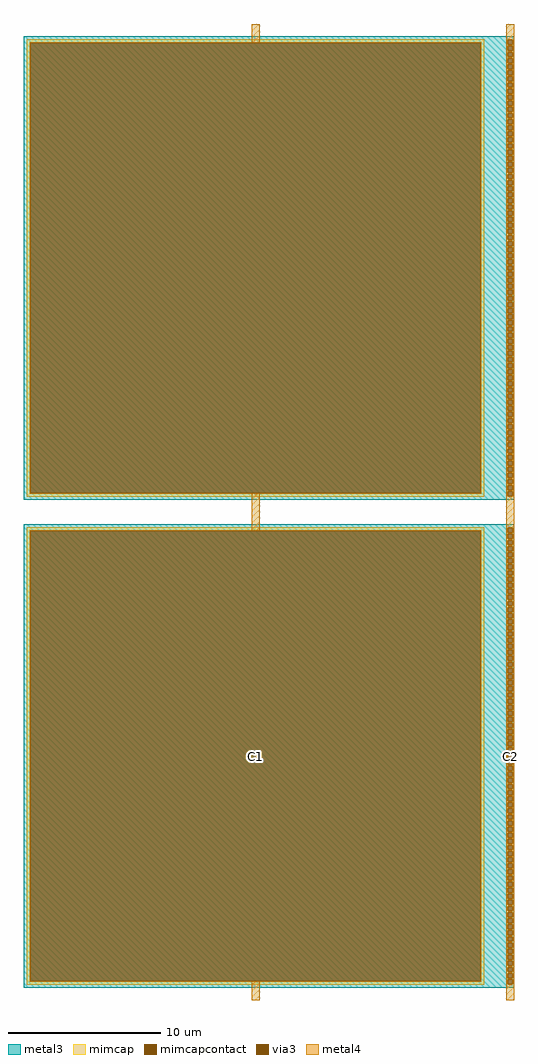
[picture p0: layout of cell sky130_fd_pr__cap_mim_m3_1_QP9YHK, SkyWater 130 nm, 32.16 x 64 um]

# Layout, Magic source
magic
tech sky130A
magscale 1 2
<< metal3 >>
rect -3216 6192 3216 6240
rect -3216 6128 3132 6192
rect 3196 6128 3216 6192
rect -3216 6112 3216 6128
rect -3216 6048 3132 6112
rect 3196 6048 3216 6112
rect -3216 6032 3216 6048
rect -3216 5968 3132 6032
rect 3196 5968 3216 6032
rect -3216 5952 3216 5968
rect -3216 5888 3132 5952
rect 3196 5888 3216 5952
rect -3216 5872 3216 5888
rect -3216 5808 3132 5872
rect 3196 5808 3216 5872
rect -3216 5792 3216 5808
rect -3216 5728 3132 5792
rect 3196 5728 3216 5792
rect -3216 5712 3216 5728
rect -3216 5648 3132 5712
rect 3196 5648 3216 5712
rect -3216 5632 3216 5648
rect -3216 5568 3132 5632
rect 3196 5568 3216 5632
rect -3216 5552 3216 5568
rect -3216 5488 3132 5552
rect 3196 5488 3216 5552
rect -3216 5472 3216 5488
rect -3216 5408 3132 5472
rect 3196 5408 3216 5472
rect -3216 5392 3216 5408
rect -3216 5328 3132 5392
rect 3196 5328 3216 5392
rect -3216 5312 3216 5328
rect -3216 5248 3132 5312
rect 3196 5248 3216 5312
rect -3216 5232 3216 5248
rect -3216 5168 3132 5232
rect 3196 5168 3216 5232
rect -3216 5152 3216 5168
rect -3216 5088 3132 5152
rect 3196 5088 3216 5152
rect -3216 5072 3216 5088
rect -3216 5008 3132 5072
rect 3196 5008 3216 5072
rect -3216 4992 3216 5008
rect -3216 4928 3132 4992
rect 3196 4928 3216 4992
rect -3216 4912 3216 4928
rect -3216 4848 3132 4912
rect 3196 4848 3216 4912
rect -3216 4832 3216 4848
rect -3216 4768 3132 4832
rect 3196 4768 3216 4832
rect -3216 4752 3216 4768
rect -3216 4688 3132 4752
rect 3196 4688 3216 4752
rect -3216 4672 3216 4688
rect -3216 4608 3132 4672
rect 3196 4608 3216 4672
rect -3216 4592 3216 4608
rect -3216 4528 3132 4592
rect 3196 4528 3216 4592
rect -3216 4512 3216 4528
rect -3216 4448 3132 4512
rect 3196 4448 3216 4512
rect -3216 4432 3216 4448
rect -3216 4368 3132 4432
rect 3196 4368 3216 4432
rect -3216 4352 3216 4368
rect -3216 4288 3132 4352
rect 3196 4288 3216 4352
rect -3216 4272 3216 4288
rect -3216 4208 3132 4272
rect 3196 4208 3216 4272
rect -3216 4192 3216 4208
rect -3216 4128 3132 4192
rect 3196 4128 3216 4192
rect -3216 4112 3216 4128
rect -3216 4048 3132 4112
rect 3196 4048 3216 4112
rect -3216 4032 3216 4048
rect -3216 3968 3132 4032
rect 3196 3968 3216 4032
rect -3216 3952 3216 3968
rect -3216 3888 3132 3952
rect 3196 3888 3216 3952
rect -3216 3872 3216 3888
rect -3216 3808 3132 3872
rect 3196 3808 3216 3872
rect -3216 3792 3216 3808
rect -3216 3728 3132 3792
rect 3196 3728 3216 3792
rect -3216 3712 3216 3728
rect -3216 3648 3132 3712
rect 3196 3648 3216 3712
rect -3216 3632 3216 3648
rect -3216 3568 3132 3632
rect 3196 3568 3216 3632
rect -3216 3552 3216 3568
rect -3216 3488 3132 3552
rect 3196 3488 3216 3552
rect -3216 3472 3216 3488
rect -3216 3408 3132 3472
rect 3196 3408 3216 3472
rect -3216 3392 3216 3408
rect -3216 3328 3132 3392
rect 3196 3328 3216 3392
rect -3216 3312 3216 3328
rect -3216 3248 3132 3312
rect 3196 3248 3216 3312
rect -3216 3232 3216 3248
rect -3216 3168 3132 3232
rect 3196 3168 3216 3232
rect -3216 3152 3216 3168
rect -3216 3088 3132 3152
rect 3196 3088 3216 3152
rect -3216 3072 3216 3088
rect -3216 3008 3132 3072
rect 3196 3008 3216 3072
rect -3216 2992 3216 3008
rect -3216 2928 3132 2992
rect 3196 2928 3216 2992
rect -3216 2912 3216 2928
rect -3216 2848 3132 2912
rect 3196 2848 3216 2912
rect -3216 2832 3216 2848
rect -3216 2768 3132 2832
rect 3196 2768 3216 2832
rect -3216 2752 3216 2768
rect -3216 2688 3132 2752
rect 3196 2688 3216 2752
rect -3216 2672 3216 2688
rect -3216 2608 3132 2672
rect 3196 2608 3216 2672
rect -3216 2592 3216 2608
rect -3216 2528 3132 2592
rect 3196 2528 3216 2592
rect -3216 2512 3216 2528
rect -3216 2448 3132 2512
rect 3196 2448 3216 2512
rect -3216 2432 3216 2448
rect -3216 2368 3132 2432
rect 3196 2368 3216 2432
rect -3216 2352 3216 2368
rect -3216 2288 3132 2352
rect 3196 2288 3216 2352
rect -3216 2272 3216 2288
rect -3216 2208 3132 2272
rect 3196 2208 3216 2272
rect -3216 2192 3216 2208
rect -3216 2128 3132 2192
rect 3196 2128 3216 2192
rect -3216 2112 3216 2128
rect -3216 2048 3132 2112
rect 3196 2048 3216 2112
rect -3216 2032 3216 2048
rect -3216 1968 3132 2032
rect 3196 1968 3216 2032
rect -3216 1952 3216 1968
rect -3216 1888 3132 1952
rect 3196 1888 3216 1952
rect -3216 1872 3216 1888
rect -3216 1808 3132 1872
rect 3196 1808 3216 1872
rect -3216 1792 3216 1808
rect -3216 1728 3132 1792
rect 3196 1728 3216 1792
rect -3216 1712 3216 1728
rect -3216 1648 3132 1712
rect 3196 1648 3216 1712
rect -3216 1632 3216 1648
rect -3216 1568 3132 1632
rect 3196 1568 3216 1632
rect -3216 1552 3216 1568
rect -3216 1488 3132 1552
rect 3196 1488 3216 1552
rect -3216 1472 3216 1488
rect -3216 1408 3132 1472
rect 3196 1408 3216 1472
rect -3216 1392 3216 1408
rect -3216 1328 3132 1392
rect 3196 1328 3216 1392
rect -3216 1312 3216 1328
rect -3216 1248 3132 1312
rect 3196 1248 3216 1312
rect -3216 1232 3216 1248
rect -3216 1168 3132 1232
rect 3196 1168 3216 1232
rect -3216 1152 3216 1168
rect -3216 1088 3132 1152
rect 3196 1088 3216 1152
rect -3216 1072 3216 1088
rect -3216 1008 3132 1072
rect 3196 1008 3216 1072
rect -3216 992 3216 1008
rect -3216 928 3132 992
rect 3196 928 3216 992
rect -3216 912 3216 928
rect -3216 848 3132 912
rect 3196 848 3216 912
rect -3216 832 3216 848
rect -3216 768 3132 832
rect 3196 768 3216 832
rect -3216 752 3216 768
rect -3216 688 3132 752
rect 3196 688 3216 752
rect -3216 672 3216 688
rect -3216 608 3132 672
rect 3196 608 3216 672
rect -3216 592 3216 608
rect -3216 528 3132 592
rect 3196 528 3216 592
rect -3216 512 3216 528
rect -3216 448 3132 512
rect 3196 448 3216 512
rect -3216 432 3216 448
rect -3216 368 3132 432
rect 3196 368 3216 432
rect -3216 352 3216 368
rect -3216 288 3132 352
rect 3196 288 3216 352
rect -3216 272 3216 288
rect -3216 208 3132 272
rect 3196 208 3216 272
rect -3216 160 3216 208
rect -3216 -208 3216 -160
rect -3216 -272 3132 -208
rect 3196 -272 3216 -208
rect -3216 -288 3216 -272
rect -3216 -352 3132 -288
rect 3196 -352 3216 -288
rect -3216 -368 3216 -352
rect -3216 -432 3132 -368
rect 3196 -432 3216 -368
rect -3216 -448 3216 -432
rect -3216 -512 3132 -448
rect 3196 -512 3216 -448
rect -3216 -528 3216 -512
rect -3216 -592 3132 -528
rect 3196 -592 3216 -528
rect -3216 -608 3216 -592
rect -3216 -672 3132 -608
rect 3196 -672 3216 -608
rect -3216 -688 3216 -672
rect -3216 -752 3132 -688
rect 3196 -752 3216 -688
rect -3216 -768 3216 -752
rect -3216 -832 3132 -768
rect 3196 -832 3216 -768
rect -3216 -848 3216 -832
rect -3216 -912 3132 -848
rect 3196 -912 3216 -848
rect -3216 -928 3216 -912
rect -3216 -992 3132 -928
rect 3196 -992 3216 -928
rect -3216 -1008 3216 -992
rect -3216 -1072 3132 -1008
rect 3196 -1072 3216 -1008
rect -3216 -1088 3216 -1072
rect -3216 -1152 3132 -1088
rect 3196 -1152 3216 -1088
rect -3216 -1168 3216 -1152
rect -3216 -1232 3132 -1168
rect 3196 -1232 3216 -1168
rect -3216 -1248 3216 -1232
rect -3216 -1312 3132 -1248
rect 3196 -1312 3216 -1248
rect -3216 -1328 3216 -1312
rect -3216 -1392 3132 -1328
rect 3196 -1392 3216 -1328
rect -3216 -1408 3216 -1392
rect -3216 -1472 3132 -1408
rect 3196 -1472 3216 -1408
rect -3216 -1488 3216 -1472
rect -3216 -1552 3132 -1488
rect 3196 -1552 3216 -1488
rect -3216 -1568 3216 -1552
rect -3216 -1632 3132 -1568
rect 3196 -1632 3216 -1568
rect -3216 -1648 3216 -1632
rect -3216 -1712 3132 -1648
rect 3196 -1712 3216 -1648
rect -3216 -1728 3216 -1712
rect -3216 -1792 3132 -1728
rect 3196 -1792 3216 -1728
rect -3216 -1808 3216 -1792
rect -3216 -1872 3132 -1808
rect 3196 -1872 3216 -1808
rect -3216 -1888 3216 -1872
rect -3216 -1952 3132 -1888
rect 3196 -1952 3216 -1888
rect -3216 -1968 3216 -1952
rect -3216 -2032 3132 -1968
rect 3196 -2032 3216 -1968
rect -3216 -2048 3216 -2032
rect -3216 -2112 3132 -2048
rect 3196 -2112 3216 -2048
rect -3216 -2128 3216 -2112
rect -3216 -2192 3132 -2128
rect 3196 -2192 3216 -2128
rect -3216 -2208 3216 -2192
rect -3216 -2272 3132 -2208
rect 3196 -2272 3216 -2208
rect -3216 -2288 3216 -2272
rect -3216 -2352 3132 -2288
rect 3196 -2352 3216 -2288
rect -3216 -2368 3216 -2352
rect -3216 -2432 3132 -2368
rect 3196 -2432 3216 -2368
rect -3216 -2448 3216 -2432
rect -3216 -2512 3132 -2448
rect 3196 -2512 3216 -2448
rect -3216 -2528 3216 -2512
rect -3216 -2592 3132 -2528
rect 3196 -2592 3216 -2528
rect -3216 -2608 3216 -2592
rect -3216 -2672 3132 -2608
rect 3196 -2672 3216 -2608
rect -3216 -2688 3216 -2672
rect -3216 -2752 3132 -2688
rect 3196 -2752 3216 -2688
rect -3216 -2768 3216 -2752
rect -3216 -2832 3132 -2768
rect 3196 -2832 3216 -2768
rect -3216 -2848 3216 -2832
rect -3216 -2912 3132 -2848
rect 3196 -2912 3216 -2848
rect -3216 -2928 3216 -2912
rect -3216 -2992 3132 -2928
rect 3196 -2992 3216 -2928
rect -3216 -3008 3216 -2992
rect -3216 -3072 3132 -3008
rect 3196 -3072 3216 -3008
rect -3216 -3088 3216 -3072
rect -3216 -3152 3132 -3088
rect 3196 -3152 3216 -3088
rect -3216 -3168 3216 -3152
rect -3216 -3232 3132 -3168
rect 3196 -3232 3216 -3168
rect -3216 -3248 3216 -3232
rect -3216 -3312 3132 -3248
rect 3196 -3312 3216 -3248
rect -3216 -3328 3216 -3312
rect -3216 -3392 3132 -3328
rect 3196 -3392 3216 -3328
rect -3216 -3408 3216 -3392
rect -3216 -3472 3132 -3408
rect 3196 -3472 3216 -3408
rect -3216 -3488 3216 -3472
rect -3216 -3552 3132 -3488
rect 3196 -3552 3216 -3488
rect -3216 -3568 3216 -3552
rect -3216 -3632 3132 -3568
rect 3196 -3632 3216 -3568
rect -3216 -3648 3216 -3632
rect -3216 -3712 3132 -3648
rect 3196 -3712 3216 -3648
rect -3216 -3728 3216 -3712
rect -3216 -3792 3132 -3728
rect 3196 -3792 3216 -3728
rect -3216 -3808 3216 -3792
rect -3216 -3872 3132 -3808
rect 3196 -3872 3216 -3808
rect -3216 -3888 3216 -3872
rect -3216 -3952 3132 -3888
rect 3196 -3952 3216 -3888
rect -3216 -3968 3216 -3952
rect -3216 -4032 3132 -3968
rect 3196 -4032 3216 -3968
rect -3216 -4048 3216 -4032
rect -3216 -4112 3132 -4048
rect 3196 -4112 3216 -4048
rect -3216 -4128 3216 -4112
rect -3216 -4192 3132 -4128
rect 3196 -4192 3216 -4128
rect -3216 -4208 3216 -4192
rect -3216 -4272 3132 -4208
rect 3196 -4272 3216 -4208
rect -3216 -4288 3216 -4272
rect -3216 -4352 3132 -4288
rect 3196 -4352 3216 -4288
rect -3216 -4368 3216 -4352
rect -3216 -4432 3132 -4368
rect 3196 -4432 3216 -4368
rect -3216 -4448 3216 -4432
rect -3216 -4512 3132 -4448
rect 3196 -4512 3216 -4448
rect -3216 -4528 3216 -4512
rect -3216 -4592 3132 -4528
rect 3196 -4592 3216 -4528
rect -3216 -4608 3216 -4592
rect -3216 -4672 3132 -4608
rect 3196 -4672 3216 -4608
rect -3216 -4688 3216 -4672
rect -3216 -4752 3132 -4688
rect 3196 -4752 3216 -4688
rect -3216 -4768 3216 -4752
rect -3216 -4832 3132 -4768
rect 3196 -4832 3216 -4768
rect -3216 -4848 3216 -4832
rect -3216 -4912 3132 -4848
rect 3196 -4912 3216 -4848
rect -3216 -4928 3216 -4912
rect -3216 -4992 3132 -4928
rect 3196 -4992 3216 -4928
rect -3216 -5008 3216 -4992
rect -3216 -5072 3132 -5008
rect 3196 -5072 3216 -5008
rect -3216 -5088 3216 -5072
rect -3216 -5152 3132 -5088
rect 3196 -5152 3216 -5088
rect -3216 -5168 3216 -5152
rect -3216 -5232 3132 -5168
rect 3196 -5232 3216 -5168
rect -3216 -5248 3216 -5232
rect -3216 -5312 3132 -5248
rect 3196 -5312 3216 -5248
rect -3216 -5328 3216 -5312
rect -3216 -5392 3132 -5328
rect 3196 -5392 3216 -5328
rect -3216 -5408 3216 -5392
rect -3216 -5472 3132 -5408
rect 3196 -5472 3216 -5408
rect -3216 -5488 3216 -5472
rect -3216 -5552 3132 -5488
rect 3196 -5552 3216 -5488
rect -3216 -5568 3216 -5552
rect -3216 -5632 3132 -5568
rect 3196 -5632 3216 -5568
rect -3216 -5648 3216 -5632
rect -3216 -5712 3132 -5648
rect 3196 -5712 3216 -5648
rect -3216 -5728 3216 -5712
rect -3216 -5792 3132 -5728
rect 3196 -5792 3216 -5728
rect -3216 -5808 3216 -5792
rect -3216 -5872 3132 -5808
rect 3196 -5872 3216 -5808
rect -3216 -5888 3216 -5872
rect -3216 -5952 3132 -5888
rect 3196 -5952 3216 -5888
rect -3216 -5968 3216 -5952
rect -3216 -6032 3132 -5968
rect 3196 -6032 3216 -5968
rect -3216 -6048 3216 -6032
rect -3216 -6112 3132 -6048
rect 3196 -6112 3216 -6048
rect -3216 -6128 3216 -6112
rect -3216 -6192 3132 -6128
rect 3196 -6192 3216 -6128
rect -3216 -6240 3216 -6192
<< via3 >>
rect 3132 6128 3196 6192
rect 3132 6048 3196 6112
rect 3132 5968 3196 6032
rect 3132 5888 3196 5952
rect 3132 5808 3196 5872
rect 3132 5728 3196 5792
rect 3132 5648 3196 5712
rect 3132 5568 3196 5632
rect 3132 5488 3196 5552
rect 3132 5408 3196 5472
rect 3132 5328 3196 5392
rect 3132 5248 3196 5312
rect 3132 5168 3196 5232
rect 3132 5088 3196 5152
rect 3132 5008 3196 5072
rect 3132 4928 3196 4992
rect 3132 4848 3196 4912
rect 3132 4768 3196 4832
rect 3132 4688 3196 4752
rect 3132 4608 3196 4672
rect 3132 4528 3196 4592
rect 3132 4448 3196 4512
rect 3132 4368 3196 4432
rect 3132 4288 3196 4352
rect 3132 4208 3196 4272
rect 3132 4128 3196 4192
rect 3132 4048 3196 4112
rect 3132 3968 3196 4032
rect 3132 3888 3196 3952
rect 3132 3808 3196 3872
rect 3132 3728 3196 3792
rect 3132 3648 3196 3712
rect 3132 3568 3196 3632
rect 3132 3488 3196 3552
rect 3132 3408 3196 3472
rect 3132 3328 3196 3392
rect 3132 3248 3196 3312
rect 3132 3168 3196 3232
rect 3132 3088 3196 3152
rect 3132 3008 3196 3072
rect 3132 2928 3196 2992
rect 3132 2848 3196 2912
rect 3132 2768 3196 2832
rect 3132 2688 3196 2752
rect 3132 2608 3196 2672
rect 3132 2528 3196 2592
rect 3132 2448 3196 2512
rect 3132 2368 3196 2432
rect 3132 2288 3196 2352
rect 3132 2208 3196 2272
rect 3132 2128 3196 2192
rect 3132 2048 3196 2112
rect 3132 1968 3196 2032
rect 3132 1888 3196 1952
rect 3132 1808 3196 1872
rect 3132 1728 3196 1792
rect 3132 1648 3196 1712
rect 3132 1568 3196 1632
rect 3132 1488 3196 1552
rect 3132 1408 3196 1472
rect 3132 1328 3196 1392
rect 3132 1248 3196 1312
rect 3132 1168 3196 1232
rect 3132 1088 3196 1152
rect 3132 1008 3196 1072
rect 3132 928 3196 992
rect 3132 848 3196 912
rect 3132 768 3196 832
rect 3132 688 3196 752
rect 3132 608 3196 672
rect 3132 528 3196 592
rect 3132 448 3196 512
rect 3132 368 3196 432
rect 3132 288 3196 352
rect 3132 208 3196 272
rect 3132 -272 3196 -208
rect 3132 -352 3196 -288
rect 3132 -432 3196 -368
rect 3132 -512 3196 -448
rect 3132 -592 3196 -528
rect 3132 -672 3196 -608
rect 3132 -752 3196 -688
rect 3132 -832 3196 -768
rect 3132 -912 3196 -848
rect 3132 -992 3196 -928
rect 3132 -1072 3196 -1008
rect 3132 -1152 3196 -1088
rect 3132 -1232 3196 -1168
rect 3132 -1312 3196 -1248
rect 3132 -1392 3196 -1328
rect 3132 -1472 3196 -1408
rect 3132 -1552 3196 -1488
rect 3132 -1632 3196 -1568
rect 3132 -1712 3196 -1648
rect 3132 -1792 3196 -1728
rect 3132 -1872 3196 -1808
rect 3132 -1952 3196 -1888
rect 3132 -2032 3196 -1968
rect 3132 -2112 3196 -2048
rect 3132 -2192 3196 -2128
rect 3132 -2272 3196 -2208
rect 3132 -2352 3196 -2288
rect 3132 -2432 3196 -2368
rect 3132 -2512 3196 -2448
rect 3132 -2592 3196 -2528
rect 3132 -2672 3196 -2608
rect 3132 -2752 3196 -2688
rect 3132 -2832 3196 -2768
rect 3132 -2912 3196 -2848
rect 3132 -2992 3196 -2928
rect 3132 -3072 3196 -3008
rect 3132 -3152 3196 -3088
rect 3132 -3232 3196 -3168
rect 3132 -3312 3196 -3248
rect 3132 -3392 3196 -3328
rect 3132 -3472 3196 -3408
rect 3132 -3552 3196 -3488
rect 3132 -3632 3196 -3568
rect 3132 -3712 3196 -3648
rect 3132 -3792 3196 -3728
rect 3132 -3872 3196 -3808
rect 3132 -3952 3196 -3888
rect 3132 -4032 3196 -3968
rect 3132 -4112 3196 -4048
rect 3132 -4192 3196 -4128
rect 3132 -4272 3196 -4208
rect 3132 -4352 3196 -4288
rect 3132 -4432 3196 -4368
rect 3132 -4512 3196 -4448
rect 3132 -4592 3196 -4528
rect 3132 -4672 3196 -4608
rect 3132 -4752 3196 -4688
rect 3132 -4832 3196 -4768
rect 3132 -4912 3196 -4848
rect 3132 -4992 3196 -4928
rect 3132 -5072 3196 -5008
rect 3132 -5152 3196 -5088
rect 3132 -5232 3196 -5168
rect 3132 -5312 3196 -5248
rect 3132 -5392 3196 -5328
rect 3132 -5472 3196 -5408
rect 3132 -5552 3196 -5488
rect 3132 -5632 3196 -5568
rect 3132 -5712 3196 -5648
rect 3132 -5792 3196 -5728
rect 3132 -5872 3196 -5808
rect 3132 -5952 3196 -5888
rect 3132 -6032 3196 -5968
rect 3132 -6112 3196 -6048
rect 3132 -6192 3196 -6128
<< mimcap >>
rect -3176 6152 2824 6200
rect -3176 248 -3128 6152
rect 2776 248 2824 6152
rect -3176 200 2824 248
rect -3176 -248 2824 -200
rect -3176 -6152 -3128 -248
rect 2776 -6152 2824 -248
rect -3176 -6200 2824 -6152
<< mimcapcontact >>
rect -3128 248 2776 6152
rect -3128 -6152 2776 -248
<< metal4 >>
rect -228 6161 -124 6400
rect 3112 6192 3216 6400
rect -3137 6152 2785 6161
rect -3137 248 -3128 6152
rect 2776 248 2785 6152
rect -3137 239 2785 248
rect 3112 6128 3132 6192
rect 3196 6128 3216 6192
rect 3112 6112 3216 6128
rect 3112 6048 3132 6112
rect 3196 6048 3216 6112
rect 3112 6032 3216 6048
rect 3112 5968 3132 6032
rect 3196 5968 3216 6032
rect 3112 5952 3216 5968
rect 3112 5888 3132 5952
rect 3196 5888 3216 5952
rect 3112 5872 3216 5888
rect 3112 5808 3132 5872
rect 3196 5808 3216 5872
rect 3112 5792 3216 5808
rect 3112 5728 3132 5792
rect 3196 5728 3216 5792
rect 3112 5712 3216 5728
rect 3112 5648 3132 5712
rect 3196 5648 3216 5712
rect 3112 5632 3216 5648
rect 3112 5568 3132 5632
rect 3196 5568 3216 5632
rect 3112 5552 3216 5568
rect 3112 5488 3132 5552
rect 3196 5488 3216 5552
rect 3112 5472 3216 5488
rect 3112 5408 3132 5472
rect 3196 5408 3216 5472
rect 3112 5392 3216 5408
rect 3112 5328 3132 5392
rect 3196 5328 3216 5392
rect 3112 5312 3216 5328
rect 3112 5248 3132 5312
rect 3196 5248 3216 5312
rect 3112 5232 3216 5248
rect 3112 5168 3132 5232
rect 3196 5168 3216 5232
rect 3112 5152 3216 5168
rect 3112 5088 3132 5152
rect 3196 5088 3216 5152
rect 3112 5072 3216 5088
rect 3112 5008 3132 5072
rect 3196 5008 3216 5072
rect 3112 4992 3216 5008
rect 3112 4928 3132 4992
rect 3196 4928 3216 4992
rect 3112 4912 3216 4928
rect 3112 4848 3132 4912
rect 3196 4848 3216 4912
rect 3112 4832 3216 4848
rect 3112 4768 3132 4832
rect 3196 4768 3216 4832
rect 3112 4752 3216 4768
rect 3112 4688 3132 4752
rect 3196 4688 3216 4752
rect 3112 4672 3216 4688
rect 3112 4608 3132 4672
rect 3196 4608 3216 4672
rect 3112 4592 3216 4608
rect 3112 4528 3132 4592
rect 3196 4528 3216 4592
rect 3112 4512 3216 4528
rect 3112 4448 3132 4512
rect 3196 4448 3216 4512
rect 3112 4432 3216 4448
rect 3112 4368 3132 4432
rect 3196 4368 3216 4432
rect 3112 4352 3216 4368
rect 3112 4288 3132 4352
rect 3196 4288 3216 4352
rect 3112 4272 3216 4288
rect 3112 4208 3132 4272
rect 3196 4208 3216 4272
rect 3112 4192 3216 4208
rect 3112 4128 3132 4192
rect 3196 4128 3216 4192
rect 3112 4112 3216 4128
rect 3112 4048 3132 4112
rect 3196 4048 3216 4112
rect 3112 4032 3216 4048
rect 3112 3968 3132 4032
rect 3196 3968 3216 4032
rect 3112 3952 3216 3968
rect 3112 3888 3132 3952
rect 3196 3888 3216 3952
rect 3112 3872 3216 3888
rect 3112 3808 3132 3872
rect 3196 3808 3216 3872
rect 3112 3792 3216 3808
rect 3112 3728 3132 3792
rect 3196 3728 3216 3792
rect 3112 3712 3216 3728
rect 3112 3648 3132 3712
rect 3196 3648 3216 3712
rect 3112 3632 3216 3648
rect 3112 3568 3132 3632
rect 3196 3568 3216 3632
rect 3112 3552 3216 3568
rect 3112 3488 3132 3552
rect 3196 3488 3216 3552
rect 3112 3472 3216 3488
rect 3112 3408 3132 3472
rect 3196 3408 3216 3472
rect 3112 3392 3216 3408
rect 3112 3328 3132 3392
rect 3196 3328 3216 3392
rect 3112 3312 3216 3328
rect 3112 3248 3132 3312
rect 3196 3248 3216 3312
rect 3112 3232 3216 3248
rect 3112 3168 3132 3232
rect 3196 3168 3216 3232
rect 3112 3152 3216 3168
rect 3112 3088 3132 3152
rect 3196 3088 3216 3152
rect 3112 3072 3216 3088
rect 3112 3008 3132 3072
rect 3196 3008 3216 3072
rect 3112 2992 3216 3008
rect 3112 2928 3132 2992
rect 3196 2928 3216 2992
rect 3112 2912 3216 2928
rect 3112 2848 3132 2912
rect 3196 2848 3216 2912
rect 3112 2832 3216 2848
rect 3112 2768 3132 2832
rect 3196 2768 3216 2832
rect 3112 2752 3216 2768
rect 3112 2688 3132 2752
rect 3196 2688 3216 2752
rect 3112 2672 3216 2688
rect 3112 2608 3132 2672
rect 3196 2608 3216 2672
rect 3112 2592 3216 2608
rect 3112 2528 3132 2592
rect 3196 2528 3216 2592
rect 3112 2512 3216 2528
rect 3112 2448 3132 2512
rect 3196 2448 3216 2512
rect 3112 2432 3216 2448
rect 3112 2368 3132 2432
rect 3196 2368 3216 2432
rect 3112 2352 3216 2368
rect 3112 2288 3132 2352
rect 3196 2288 3216 2352
rect 3112 2272 3216 2288
rect 3112 2208 3132 2272
rect 3196 2208 3216 2272
rect 3112 2192 3216 2208
rect 3112 2128 3132 2192
rect 3196 2128 3216 2192
rect 3112 2112 3216 2128
rect 3112 2048 3132 2112
rect 3196 2048 3216 2112
rect 3112 2032 3216 2048
rect 3112 1968 3132 2032
rect 3196 1968 3216 2032
rect 3112 1952 3216 1968
rect 3112 1888 3132 1952
rect 3196 1888 3216 1952
rect 3112 1872 3216 1888
rect 3112 1808 3132 1872
rect 3196 1808 3216 1872
rect 3112 1792 3216 1808
rect 3112 1728 3132 1792
rect 3196 1728 3216 1792
rect 3112 1712 3216 1728
rect 3112 1648 3132 1712
rect 3196 1648 3216 1712
rect 3112 1632 3216 1648
rect 3112 1568 3132 1632
rect 3196 1568 3216 1632
rect 3112 1552 3216 1568
rect 3112 1488 3132 1552
rect 3196 1488 3216 1552
rect 3112 1472 3216 1488
rect 3112 1408 3132 1472
rect 3196 1408 3216 1472
rect 3112 1392 3216 1408
rect 3112 1328 3132 1392
rect 3196 1328 3216 1392
rect 3112 1312 3216 1328
rect 3112 1248 3132 1312
rect 3196 1248 3216 1312
rect 3112 1232 3216 1248
rect 3112 1168 3132 1232
rect 3196 1168 3216 1232
rect 3112 1152 3216 1168
rect 3112 1088 3132 1152
rect 3196 1088 3216 1152
rect 3112 1072 3216 1088
rect 3112 1008 3132 1072
rect 3196 1008 3216 1072
rect 3112 992 3216 1008
rect 3112 928 3132 992
rect 3196 928 3216 992
rect 3112 912 3216 928
rect 3112 848 3132 912
rect 3196 848 3216 912
rect 3112 832 3216 848
rect 3112 768 3132 832
rect 3196 768 3216 832
rect 3112 752 3216 768
rect 3112 688 3132 752
rect 3196 688 3216 752
rect 3112 672 3216 688
rect 3112 608 3132 672
rect 3196 608 3216 672
rect 3112 592 3216 608
rect 3112 528 3132 592
rect 3196 528 3216 592
rect 3112 512 3216 528
rect 3112 448 3132 512
rect 3196 448 3216 512
rect 3112 432 3216 448
rect 3112 368 3132 432
rect 3196 368 3216 432
rect 3112 352 3216 368
rect 3112 288 3132 352
rect 3196 288 3216 352
rect 3112 272 3216 288
rect -228 -239 -124 239
rect 3112 208 3132 272
rect 3196 208 3216 272
rect 3112 -208 3216 208
rect -3137 -248 2785 -239
rect -3137 -6152 -3128 -248
rect 2776 -6152 2785 -248
rect -3137 -6161 2785 -6152
rect 3112 -272 3132 -208
rect 3196 -272 3216 -208
rect 3112 -288 3216 -272
rect 3112 -352 3132 -288
rect 3196 -352 3216 -288
rect 3112 -368 3216 -352
rect 3112 -432 3132 -368
rect 3196 -432 3216 -368
rect 3112 -448 3216 -432
rect 3112 -512 3132 -448
rect 3196 -512 3216 -448
rect 3112 -528 3216 -512
rect 3112 -592 3132 -528
rect 3196 -592 3216 -528
rect 3112 -608 3216 -592
rect 3112 -672 3132 -608
rect 3196 -672 3216 -608
rect 3112 -688 3216 -672
rect 3112 -752 3132 -688
rect 3196 -752 3216 -688
rect 3112 -768 3216 -752
rect 3112 -832 3132 -768
rect 3196 -832 3216 -768
rect 3112 -848 3216 -832
rect 3112 -912 3132 -848
rect 3196 -912 3216 -848
rect 3112 -928 3216 -912
rect 3112 -992 3132 -928
rect 3196 -992 3216 -928
rect 3112 -1008 3216 -992
rect 3112 -1072 3132 -1008
rect 3196 -1072 3216 -1008
rect 3112 -1088 3216 -1072
rect 3112 -1152 3132 -1088
rect 3196 -1152 3216 -1088
rect 3112 -1168 3216 -1152
rect 3112 -1232 3132 -1168
rect 3196 -1232 3216 -1168
rect 3112 -1248 3216 -1232
rect 3112 -1312 3132 -1248
rect 3196 -1312 3216 -1248
rect 3112 -1328 3216 -1312
rect 3112 -1392 3132 -1328
rect 3196 -1392 3216 -1328
rect 3112 -1408 3216 -1392
rect 3112 -1472 3132 -1408
rect 3196 -1472 3216 -1408
rect 3112 -1488 3216 -1472
rect 3112 -1552 3132 -1488
rect 3196 -1552 3216 -1488
rect 3112 -1568 3216 -1552
rect 3112 -1632 3132 -1568
rect 3196 -1632 3216 -1568
rect 3112 -1648 3216 -1632
rect 3112 -1712 3132 -1648
rect 3196 -1712 3216 -1648
rect 3112 -1728 3216 -1712
rect 3112 -1792 3132 -1728
rect 3196 -1792 3216 -1728
rect 3112 -1808 3216 -1792
rect 3112 -1872 3132 -1808
rect 3196 -1872 3216 -1808
rect 3112 -1888 3216 -1872
rect 3112 -1952 3132 -1888
rect 3196 -1952 3216 -1888
rect 3112 -1968 3216 -1952
rect 3112 -2032 3132 -1968
rect 3196 -2032 3216 -1968
rect 3112 -2048 3216 -2032
rect 3112 -2112 3132 -2048
rect 3196 -2112 3216 -2048
rect 3112 -2128 3216 -2112
rect 3112 -2192 3132 -2128
rect 3196 -2192 3216 -2128
rect 3112 -2208 3216 -2192
rect 3112 -2272 3132 -2208
rect 3196 -2272 3216 -2208
rect 3112 -2288 3216 -2272
rect 3112 -2352 3132 -2288
rect 3196 -2352 3216 -2288
rect 3112 -2368 3216 -2352
rect 3112 -2432 3132 -2368
rect 3196 -2432 3216 -2368
rect 3112 -2448 3216 -2432
rect 3112 -2512 3132 -2448
rect 3196 -2512 3216 -2448
rect 3112 -2528 3216 -2512
rect 3112 -2592 3132 -2528
rect 3196 -2592 3216 -2528
rect 3112 -2608 3216 -2592
rect 3112 -2672 3132 -2608
rect 3196 -2672 3216 -2608
rect 3112 -2688 3216 -2672
rect 3112 -2752 3132 -2688
rect 3196 -2752 3216 -2688
rect 3112 -2768 3216 -2752
rect 3112 -2832 3132 -2768
rect 3196 -2832 3216 -2768
rect 3112 -2848 3216 -2832
rect 3112 -2912 3132 -2848
rect 3196 -2912 3216 -2848
rect 3112 -2928 3216 -2912
rect 3112 -2992 3132 -2928
rect 3196 -2992 3216 -2928
rect 3112 -3008 3216 -2992
rect 3112 -3072 3132 -3008
rect 3196 -3072 3216 -3008
rect 3112 -3088 3216 -3072
rect 3112 -3152 3132 -3088
rect 3196 -3152 3216 -3088
rect 3112 -3168 3216 -3152
rect 3112 -3232 3132 -3168
rect 3196 -3232 3216 -3168
rect 3112 -3248 3216 -3232
rect 3112 -3312 3132 -3248
rect 3196 -3312 3216 -3248
rect 3112 -3328 3216 -3312
rect 3112 -3392 3132 -3328
rect 3196 -3392 3216 -3328
rect 3112 -3408 3216 -3392
rect 3112 -3472 3132 -3408
rect 3196 -3472 3216 -3408
rect 3112 -3488 3216 -3472
rect 3112 -3552 3132 -3488
rect 3196 -3552 3216 -3488
rect 3112 -3568 3216 -3552
rect 3112 -3632 3132 -3568
rect 3196 -3632 3216 -3568
rect 3112 -3648 3216 -3632
rect 3112 -3712 3132 -3648
rect 3196 -3712 3216 -3648
rect 3112 -3728 3216 -3712
rect 3112 -3792 3132 -3728
rect 3196 -3792 3216 -3728
rect 3112 -3808 3216 -3792
rect 3112 -3872 3132 -3808
rect 3196 -3872 3216 -3808
rect 3112 -3888 3216 -3872
rect 3112 -3952 3132 -3888
rect 3196 -3952 3216 -3888
rect 3112 -3968 3216 -3952
rect 3112 -4032 3132 -3968
rect 3196 -4032 3216 -3968
rect 3112 -4048 3216 -4032
rect 3112 -4112 3132 -4048
rect 3196 -4112 3216 -4048
rect 3112 -4128 3216 -4112
rect 3112 -4192 3132 -4128
rect 3196 -4192 3216 -4128
rect 3112 -4208 3216 -4192
rect 3112 -4272 3132 -4208
rect 3196 -4272 3216 -4208
rect 3112 -4288 3216 -4272
rect 3112 -4352 3132 -4288
rect 3196 -4352 3216 -4288
rect 3112 -4368 3216 -4352
rect 3112 -4432 3132 -4368
rect 3196 -4432 3216 -4368
rect 3112 -4448 3216 -4432
rect 3112 -4512 3132 -4448
rect 3196 -4512 3216 -4448
rect 3112 -4528 3216 -4512
rect 3112 -4592 3132 -4528
rect 3196 -4592 3216 -4528
rect 3112 -4608 3216 -4592
rect 3112 -4672 3132 -4608
rect 3196 -4672 3216 -4608
rect 3112 -4688 3216 -4672
rect 3112 -4752 3132 -4688
rect 3196 -4752 3216 -4688
rect 3112 -4768 3216 -4752
rect 3112 -4832 3132 -4768
rect 3196 -4832 3216 -4768
rect 3112 -4848 3216 -4832
rect 3112 -4912 3132 -4848
rect 3196 -4912 3216 -4848
rect 3112 -4928 3216 -4912
rect 3112 -4992 3132 -4928
rect 3196 -4992 3216 -4928
rect 3112 -5008 3216 -4992
rect 3112 -5072 3132 -5008
rect 3196 -5072 3216 -5008
rect 3112 -5088 3216 -5072
rect 3112 -5152 3132 -5088
rect 3196 -5152 3216 -5088
rect 3112 -5168 3216 -5152
rect 3112 -5232 3132 -5168
rect 3196 -5232 3216 -5168
rect 3112 -5248 3216 -5232
rect 3112 -5312 3132 -5248
rect 3196 -5312 3216 -5248
rect 3112 -5328 3216 -5312
rect 3112 -5392 3132 -5328
rect 3196 -5392 3216 -5328
rect 3112 -5408 3216 -5392
rect 3112 -5472 3132 -5408
rect 3196 -5472 3216 -5408
rect 3112 -5488 3216 -5472
rect 3112 -5552 3132 -5488
rect 3196 -5552 3216 -5488
rect 3112 -5568 3216 -5552
rect 3112 -5632 3132 -5568
rect 3196 -5632 3216 -5568
rect 3112 -5648 3216 -5632
rect 3112 -5712 3132 -5648
rect 3196 -5712 3216 -5648
rect 3112 -5728 3216 -5712
rect 3112 -5792 3132 -5728
rect 3196 -5792 3216 -5728
rect 3112 -5808 3216 -5792
rect 3112 -5872 3132 -5808
rect 3196 -5872 3216 -5808
rect 3112 -5888 3216 -5872
rect 3112 -5952 3132 -5888
rect 3196 -5952 3216 -5888
rect 3112 -5968 3216 -5952
rect 3112 -6032 3132 -5968
rect 3196 -6032 3216 -5968
rect 3112 -6048 3216 -6032
rect 3112 -6112 3132 -6048
rect 3196 -6112 3216 -6048
rect 3112 -6128 3216 -6112
rect -228 -6400 -124 -6161
rect 3112 -6192 3132 -6128
rect 3196 -6192 3216 -6128
rect 3112 -6400 3216 -6192
<< labels >>
rlabel metal4 s 3164 -3200 3164 -3200 4 C2
rlabel metal4 s -176 -3200 -176 -3200 4 C1
<< properties >>
string FIXED_BBOX -3216 160 2864 6240
<< end >>
